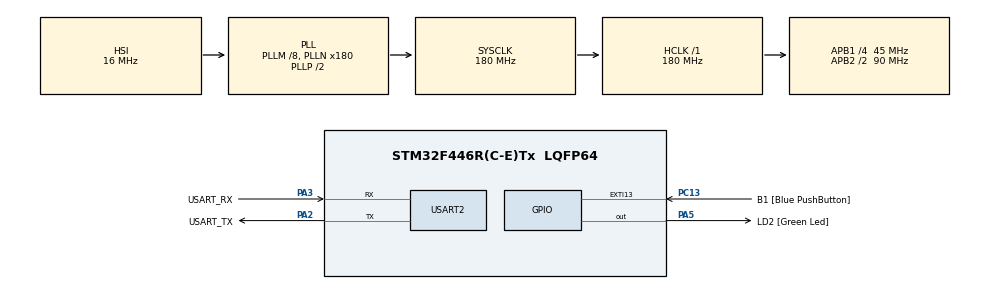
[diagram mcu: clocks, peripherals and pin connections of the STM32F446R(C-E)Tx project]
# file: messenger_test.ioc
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FREERTOS.Tasks01=defaultTask,24,128,StartDefaultTask,Default,NULL,Dynamic,NULL,NULL;myTask01,8,128,StartTask01,Default,NULL,Dynamic,NULL,NULL;myTask02,8,128,StartTask02,Default,NULL,Dynamic,NULL,NULL;messenger,40,128,StartMessenger,Default,NULL,Dynamic,NULL,NULL
FREERTOS.configENABLE_FPU=1
FREERTOS.configUSE_NEWLIB_REENTRANT=0
Mcu.Family=STM32F4
Mcu.Name=STM32F446R(C-E)Tx
Mcu.Package=LQFP64
NVIC.PriorityGroup=NVIC_PRIORITYGROUP_4
NVIC.TIM6_DAC_IRQn=true\:15\:0\:false\:false\:true\:false\:false\:true\:true
NVIC.TimeBase=TIM6_DAC_IRQn
NVIC.TimeBaseIP=TIM6
PA13.GPIO_Label=TMS
PA13.Mode=Serial_Wire
PA13.Signal=SYS_JTMS-SWDIO
PA14.GPIO_Label=TCK
PA14.Mode=Serial_Wire
PA14.Signal=SYS_JTCK-SWCLK
PA2.GPIO_Label=USART_TX
PA2.Mode=Asynchronous
PA2.Signal=USART2_TX
PA3.GPIO_Label=USART_RX
PA3.Mode=Asynchronous
PA3.Signal=USART2_RX
PA5.GPIO_Label=LD2 [Green Led]
PA5.Signal=GPIO_Output
PB3.GPIO_Label=SWO
PB3.Signal=SYS_JTDO-SWO
PC13.GPIO_Label=B1 [Blue PushButton]
PC13.GPIO_ModeDefaultEXTI=GPIO_MODE_IT_FALLING
PC13.Signal=GPXTI13
PC14-OSC32_IN.Mode=LSE-External-Oscillator
PC14-OSC32_IN.Signal=RCC_OSC32_IN
PC15-OSC32_OUT.Mode=LSE-External-Oscillator
PC15-OSC32_OUT.Signal=RCC_OSC32_OUT
PH0-OSC_IN.Mode=HSE-External-Oscillator
PH0-OSC_IN.Signal=RCC_OSC_IN
PH1-OSC_OUT.Mode=HSE-External-Oscillator
PH1-OSC_OUT.Signal=RCC_OSC_OUT
ProjectManager.HeapSize=0x200
ProjectManager.StackSize=0x400
ProjectManager.TargetToolchain=STM32CubeIDE
RCC.48MHZClocksFreq_Value=84000000
RCC.AHBFreq_Value=180000000
RCC.APB1CLKDivider=RCC_HCLK_DIV4
RCC.APB1Freq_Value=45000000
RCC.APB1TimFreq_Value=90000000
RCC.APB2CLKDivider=RCC_HCLK_DIV2
RCC.APB2Freq_Value=90000000
RCC.APB2TimFreq_Value=180000000
RCC.CortexFreq_Value=180000000
RCC.FLatency-AdvancedSettings=FLASH_LATENCY_5
RCC.HCLKFreq_Value=180000000
RCC.HSE_VALUE=8000000
RCC.HSI_VALUE=16000000
RCC.PLLM=8
RCC.PLLN=180
RCC.SYSCLKFreq_VALUE=180000000
RCC.SYSCLKSource=RCC_SYSCLKSOURCE_PLLCLK
RCC.USBFreq_Value=180000000
RCC.VCOOutputFreq_Value=360000000
USART2.VirtualMode=VM_ASYNC
VP_FREERTOS_VS_CMSIS_V2.Mode=CMSIS_V2
VP_SYS_VS_tim6.Mode=TIM6
board=NUCLEO-F446RE

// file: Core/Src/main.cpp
/* USER CODE BEGIN Header */
/**
 ******************************************************************************
 * @file           : main.c
 * @brief          : Main program body
 ******************************************************************************
 * @attention
 *
 * Copyright (c) 2024 STMicroelectronics.
 * All rights reserved.
 *
 * This software is licensed under terms that can be found in the LICENSE file
 * in the root directory of this software component.
 * If no LICENSE file comes with this software, it is provided AS-IS.
 *
 ******************************************************************************
 */
/* USER CODE END Header */
#include <MessengerStuff/messenger.hpp>
#include "main.h"
#include "cmsis_os.h"

#include <queue>
#include <string>
#include <cstdint>

UART_HandleTypeDef huart2;

/* Definitions for defaultTask */
osThreadId_t defaultTaskHandle;
const osThreadAttr_t defaultTask_attributes = { .name = "defaultTask",
		.stack_size = 128 * 4, .priority = (osPriority_t) osPriorityNormal, };
/* Definitions for myTask01 */
osThreadId_t myTask01Handle;
const osThreadAttr_t myTask01_attributes = { .name = "myTask01", .stack_size =
		128 * 4, .priority = (osPriority_t) osPriorityLow, };
/* Definitions for myTask02 */
osThreadId_t myTask02Handle;
const osThreadAttr_t myTask02_attributes = { .name = "myTask02", .stack_size =
		128 * 4, .priority = (osPriority_t) osPriorityLow, };
/* Definitions for messenger */
osThreadId_t messengerHandle;
const osThreadAttr_t messenger_attributes = { .name = "messenger", .stack_size =
		128 * 4, .priority = (osPriority_t) osPriorityLow, };

void SystemClock_Config(void);
static void MX_GPIO_Init(void);
static void MX_USART2_UART_Init(void);
void StartDefaultTask(void *argument);
void StartTask01(void *argument);
void StartTask02(void *argument);
void StartMessenger(void *argument);

/* USER CODE BEGIN PFP */

void myPrint(char *message) {
	size_t length = 0;
	while (message[length] != '\0') {
		length++;
	}
	uint8_t uintArray[length + 1];
	for (size_t i = 0; i <= length; i++) {
		uintArray[i] = (uint8_t)message[i];
	}
	HAL_UART_Transmit(&huart2, uintArray, sizeof(uintArray), 100);
}

/* USER CODE END PFP */

/* USER CODE BEGIN 0 */
std::queue<Messenger> task_1_queue;
std::queue<Messenger> task_2_queue;
std::queue<Messenger> messenger_queue;
/* USER CODE END 0 */

/*
 * @brief  The application entry point.
 * @retval int
 */
int main(void) {

	/* MCU Configuration--------------------------------------------------------*/

	/* Reset of all peripherals, Initializes the Flash interface and the Systick. */
	HAL_Init();

	/* Configure the system clock */
	SystemClock_Config();

	/* Initialize all configured peripherals */
	MX_GPIO_Init();
	MX_USART2_UART_Init();

	/* Init scheduler */
	osKernelInitialize();

	/* Create the thread(s) */
	/* creation of defaultTask */
	defaultTaskHandle = osThreadNew(StartDefaultTask, NULL,
			&defaultTask_attributes);

	/* creation of myTask01 */
	myTask01Handle = osThreadNew(StartTask01, NULL, &myTask01_attributes);

	/* creation of myTask02 */
	myTask02Handle = osThreadNew(StartTask02, NULL, &myTask02_attributes);

	/* creation of messeger */
	messengerHandle = osThreadNew(StartMessenger, NULL, &messenger_attributes);

	/* Start scheduler */
	osKernelStart();

	/* We should never get here as control is now taken by the scheduler */
	/* Infinite loop */
	while (1) {

	}
}

void SystemClock_Config(void) {
	RCC_OscInitTypeDef RCC_OscInitStruct = { 0 };
	RCC_ClkInitTypeDef RCC_ClkInitStruct = { 0 };

	/** Configure the main internal regulator output voltage
	 */
	__HAL_RCC_PWR_CLK_ENABLE();
	__HAL_PWR_VOLTAGESCALING_CONFIG(PWR_REGULATOR_VOLTAGE_SCALE1);

	/** Initializes the RCC Oscillators according to the specified parameters
	 * in the RCC_OscInitTypeDef structure.
	 */
	RCC_OscInitStruct.OscillatorType = RCC_OSCILLATORTYPE_HSI;
	RCC_OscInitStruct.HSIState = RCC_HSI_ON;
	RCC_OscInitStruct.HSICalibrationValue = RCC_HSICALIBRATION_DEFAULT;
	RCC_OscInitStruct.PLL.PLLState = RCC_PLL_ON;
	RCC_OscInitStruct.PLL.PLLSource = RCC_PLLSOURCE_HSI;
	RCC_OscInitStruct.PLL.PLLM = 8;
	RCC_OscInitStruct.PLL.PLLN = 180;
	RCC_OscInitStruct.PLL.PLLP = RCC_PLLP_DIV2;
	RCC_OscInitStruct.PLL.PLLQ = 2;
	RCC_OscInitStruct.PLL.PLLR = 2;
	if (HAL_RCC_OscConfig(&RCC_OscInitStruct) != HAL_OK) {
		Error_Handler();
	}

	/** Activate the Over-Drive mode
	 */
	if (HAL_PWREx_EnableOverDrive() != HAL_OK) {
		Error_Handler();
	}

	/** Initializes the CPU, AHB and APB buses clocks
	 */
	RCC_ClkInitStruct.ClockType = RCC_CLOCKTYPE_HCLK | RCC_CLOCKTYPE_SYSCLK
			| RCC_CLOCKTYPE_PCLK1 | RCC_CLOCKTYPE_PCLK2;
	RCC_ClkInitStruct.SYSCLKSource = RCC_SYSCLKSOURCE_PLLCLK;
	RCC_ClkInitStruct.AHBCLKDivider = RCC_SYSCLK_DIV1;
	RCC_ClkInitStruct.APB1CLKDivider = RCC_HCLK_DIV4;
	RCC_ClkInitStruct.APB2CLKDivider = RCC_HCLK_DIV2;

	if (HAL_RCC_ClockConfig(&RCC_ClkInitStruct, FLASH_LATENCY_5) != HAL_OK) {
		Error_Handler();
	}
}

static void MX_USART2_UART_Init(void) {

	huart2.Instance = USART2;
	huart2.Init.BaudRate = 115200;
	huart2.Init.WordLength = UART_WORDLENGTH_8B;
	huart2.Init.StopBits = UART_STOPBITS_1;
	huart2.Init.Parity = UART_PARITY_NONE;
	huart2.Init.Mode = UART_MODE_TX_RX;
	huart2.Init.HwFlowCtl = UART_HWCONTROL_NONE;
	huart2.Init.OverSampling = UART_OVERSAMPLING_16;
	if (HAL_UART_Init(&huart2) != HAL_OK) {
		Error_Handler();
	}

}

static void MX_GPIO_Init(void) {
	GPIO_InitTypeDef GPIO_InitStruct = { 0 };

	/* GPIO Ports Clock Enable */
	__HAL_RCC_GPIOC_CLK_ENABLE();
	__HAL_RCC_GPIOH_CLK_ENABLE();
	__HAL_RCC_GPIOA_CLK_ENABLE();
	__HAL_RCC_GPIOB_CLK_ENABLE();

	/*Configure GPIO pin Output Level */
	HAL_GPIO_WritePin(LD2_GPIO_Port, LD2_Pin, GPIO_PIN_RESET);

	/*Configure GPIO pin : B1_Pin */
	GPIO_InitStruct.Pin = B1_Pin;
	GPIO_InitStruct.Mode = GPIO_MODE_IT_FALLING;
	GPIO_InitStruct.Pull = GPIO_NOPULL;
	HAL_GPIO_Init(B1_GPIO_Port, &GPIO_InitStruct);

	/*Configure GPIO pin : LD2_Pin */
	GPIO_InitStruct.Pin = LD2_Pin;
	GPIO_InitStruct.Mode = GPIO_MODE_OUTPUT_PP;
	GPIO_InitStruct.Pull = GPIO_NOPULL;
	GPIO_InitStruct.Speed = GPIO_SPEED_FREQ_LOW;
	HAL_GPIO_Init(LD2_GPIO_Port, &GPIO_InitStruct);

}

void StartDefaultTask(void *argument) {
	/* USER CODE BEGIN 5 */
	/* Infinite loop */
	for (;;) {
		osDelay(10);
	}
	/* USER CODE END 5 */
}

void StartTask01(void *argument) {
	/* USER CODE BEGIN StartTask01 */
	/* Infinite loop */
	for (;;) {
		osDelay(1000);

		myPrint("Sending message from task 1.\n");
		// create a message
		Messenger message_from_1(2, 1, 1337);
		// add message to the messenger queue
		messenger_queue.push(message_from_1);

	}
	/* USER CODE END StartTask01 */
}

void StartTask02(void *argument) {
	/* USER CODE BEGIN StartTask02 */
	/* Infinite loop */

	uint32_t value_1 = 0;
	uint32_t value_2 = 0;
	char buffer[32];

	for (;;) {
		osDelay(100);

		// Check if gotten a message
		if (!task_2_queue.empty()) {

			switch (task_2_queue.front().get_payload_id()) {
				case 0:
					value_1 = task_2_queue.front().get_payload();

					sprintf(buffer, "%lu", value_1);
					myPrint("Message received in task 2 with id 0: \t");
					myPrint(buffer);
					myPrint("\n");

					break;
				case 1:
					value_2 = task_2_queue.front().get_payload();

					sprintf(buffer, "%lu", value_2);
					myPrint("Message received in task 2 with id 1: \t");
					myPrint(buffer);
					myPrint("\n");

					break;

				default:
					break;
			}
		task_2_queue.pop();
		}

	}
	/* USER CODE END StartTask02 */
}

void StartMessenger(void *argument) {
	/* USER CODE BEGIN StartMessager */
	/* Infinite loop */
	char buffer[32];

	for (;;) {
		osDelay(10);

		while (!messenger_queue.empty()) {

			myPrint("Found message in message queue. \n");
//			myPrint("Message queue length:\t ");
//			sprintf(buffer, "%i", messenger_queue.size());
//			myPrint(buffer);
//			myPrint("\n");

			uint16_t target_process_id =
					messenger_queue.front().get_target_task_id();

			// Add message to the right task queue
			if (target_process_id == 1) {
				task_1_queue.push(messenger_queue.front());
			} else if (target_process_id == 2) {
				task_2_queue.push(messenger_queue.front());
			}

			// Remove the message
			messenger_queue.pop();
		}
	}
	/* USER CODE END StartMessager */
}

void HAL_TIM_PeriodElapsedCallback(TIM_HandleTypeDef *htim) {
	if (htim->Instance == TIM6) {
		HAL_IncTick();
	}
}

void Error_Handler(void) {
	__disable_irq();
	while (1) {
	}
}
